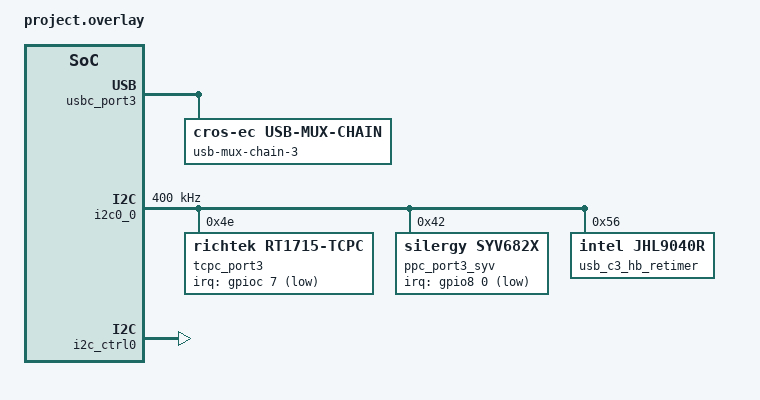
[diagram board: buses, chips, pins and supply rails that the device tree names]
/* Copyright 2024 The ChromiumOS Authors
 * Use of this source code is governed by a BSD-style license that can be
 * found in the LICENSE file.
 */

#include <cros/cbi_flash.dtsi>

/* Ovis program common DTSI includes */
#include "../fan.dtsi"
#include "../generated.dtsi"
#include "../interrupts.dtsi"
#include "../power_signals.dtsi"
#include "../ovis.dtsi"
#include "../usbc.dtsi"

/* Deku project DTS includes */
#include "led_pins.dtsi"
#include "temp_sensors.dtsi"
/*
 * TODO(b/285166688): need led_policy.dtsi once that has been
 * implemented to match Ovis requirements
 */

/ {
	named-adc-channels {
		adc_temp_sensor_3: temp_sensor_3 {
			enum-name = "ADC_TEMP_SENSOR_3";
			io-channels = <&adc0 7>;
		};
			adc_temp_sensor_4: temp_sensor_4 {
			enum-name = "ADC_TEMP_SENSOR_4";
			io-channels = <&adc0 9>;
		};
	};

	named-gpios {
		/delete-node/ ec_spare_gpio14;
		/delete-node/ ec_spare_gpio16;
		/delete-node/ ec_spare_gpio50;
		/delete-node/ ec_spare_gpio80;
		/delete-node/ ec_spare_gpio83;
		/delete-node/ ec_spare_gpio94;
		/delete-node/ ec_spare_gpio95;
		/delete-node/ ec_spare_gpioa1;
		/delete-node/ ec_spare_gpiob4;
		/delete-node/ ec_spare_gpiob5;
		/delete-node/ ec_spare_gpioc7;
		/delete-node/ ec_spare_gpioe1;
		/delete-node/ ec_spare_gpioe3;
		/delete-node/ ec_spare_gpiof0;
		/delete-node/ ec_spare_psl_gpo;
		/delete-node/ ec_spare_psl_in_3;
		/delete-node/ en_z1_rails;
		/delete-node/ gsc_flash_wp_odl;
		/delete-node/ pg_mem_vdd;
		/delete-node/ pg_pp1250_soc;
		/delete-node/ sys_slp_s0ix_l;
		/delete-node/ usb_a0_low_pwr_l;
		/delete-node/ usb_a0_status_odl;
		/delete-node/ usb_a1_low_pwr_l;
		/delete-node/ usb_a1_status_odl;
		/delete-node/ usb_a2_low_pwr_l;
		/delete-node/ usb_a2_oc_odl;
		/delete-node/ usb_a2_status_odl;
		/delete-node/ usb_a3_low_pwr_l;
		/delete-node/ usb_a3_status_odl;
		/delete-node/ usb_c0_frs_en;
		/delete-node/ usb_c1_frs_en;
		/delete-node/ usb_c2_frs_en;

		/*
		 * TODO(b/329518509): Default LED to Green until led_policy.dtsi
		 * is added */
		led_2_l {
			gpios = <&gpioc 3 GPIO_OUTPUT>;
		};

		gpio_ec_prochot_odl: ec_prochot_odl {
			gpios = <&gpio9 5 GPIO_ODR_HIGH>;
		};
		gpio_ec_soc_rec_switch_odl: ec_soc_rec_switch_odl {
			gpios = <&gpioe 3 GPIO_ODR_HIGH>;
		};
		gpio_ec_spare_gpio02: ec_spare_gpio02 {
			gpios = <&gpio0 2 GPIO_OUTPUT>;
		};
		gpio_ec_spare_gpio06: ec_spare_gpio06 {
			gpios = <&gpio0 6 GPIO_OUTPUT>;
		};
		gpio_ec_spare_gpio07: ec_spare_gpio07 {
			gpios = <&gpio0 7 GPIO_OUTPUT>;
		};
		gpio_ec_spare_gpio17: ec_spare_gpio17 {
			gpios = <&gpio1 7 GPIO_OUTPUT>;
		};
		gpio_ec_spare_gpio23: ec_spare_gpio23 {
			gpios = <&gpio2 3 GPIO_OUTPUT>;
		};
		gpio_ec_spare_gpio24: ec_spare_gpio24 {
			gpios = <&gpio2 4 GPIO_OUTPUT>;
		};
		gpio_ec_spare_gpio25: ec_spare_gpio25 {
			gpios = <&gpio2 5 GPIO_OUTPUT>;
		};
		gpio_ec_spare_gpio36: ec_spare_gpio36 {
			gpios = <&gpio3 6 GPIO_OUTPUT>;
		};
		gpio_ec_spare_gpio60: ec_spare_gpio60 {
			gpios = <&gpio6 0 GPIO_OUTPUT>;
		};
		gpio_ec_spare_gpio67: ec_spare_gpio67 {
			gpios = <&gpio6 7 GPIO_OUTPUT>;
		};
		gpio_ec_spare_gpio74: ec_spare_gpio74 {
			gpios = <&gpio7 4 GPIO_OUTPUT>;
		};
		gpio_ec_spare_gpio85: ec_spare_gpio85 {
			gpios = <&gpio8 5 GPIO_OUTPUT>;
		};
		gpio_ec_spare_gpiod3: ec_spare_gpiod3 {
			gpios = <&gpiod 3 GPIO_OUTPUT>;
		};
		gpio_ec_spare_gpiod5: ec_spare_gpiod5 {
			gpios = <&gpiod 5 GPIO_OUTPUT>;
		};
		gpio_ec_spare_gpiod7: ec_spare_gpiod7 {
			gpios = <&gpiod 7 GPIO_OUTPUT>;
		};
		gpio_ec_swio: ec_swio {
			gpios = <&gpio2 0 GPIO_OUTPUT>;
		};
		gpio_ec_swclk: ec_swclk {
			gpios = <&gpio2 1 GPIO_OUTPUT>;
		};
		gpio_ec_usb_c0_sbu_mux_flt_odl: ec_usb_c0_sbu_mux_flt_odl {
			gpios = <&gpio8 3 GPIO_INPUT>;
		};
		gpio_gsc_flash_wp_odl: gsc_flash_wp_odl {
			gpios = <&gpioa 1 (GPIO_INPUT | GPIO_ACTIVE_LOW)>;
		};
		gpio_sys_slp_s0ix_l: sys_slp_s0ix_l {
			gpios = <&gpio5 0 GPIO_INPUT>;
		};
		gpio_usb_a4_oc_odl: usb_a4_oc_odl {
			gpios = <&gpio2 6 GPIO_INPUT>;
		};
		gpio_usb_c3_ppc_int_odl: usb_c3_ppc_int_odl {
			gpios = <&gpio8 0 (GPIO_INPUT | GPIO_ACTIVE_LOW)>;
		};
		gpio_usb_c3_rt_3p3_sx_en: usb_c3_rt_3p3_sx_en {
			gpios = <&gpio1 4 GPIO_ODR_LOW>;
		};
		gpio_usb_c3_rt_int_odl: usb_c3_rt_int_odl {
			gpios = <&gpio9 4 GPIO_INPUT>;
		};
		gpio_usb_c3_rt_rst_l: usb_c3_rt_rst_l {
			gpios = <&gpio1 6 GPIO_ODR_HIGH>;
		};
		gpio_usb_c3_tcpc_int_odl: usb_c3_tcpc_int_odl {
			gpios = <&gpioc 7 (GPIO_INPUT | GPIO_ACTIVE_LOW)>;
		};
	};

	named-i2c-ports {
		i2c_ec_i2c_usb_c3: ec_i2c_usb_c3 {
		i2c-port = <&i2c0_0>;
		enum-names = "I2C_USB_C3";
		};
	};

	usbc {
		usbc_port3: port3@3 {
			compatible = "named-usbc-port";
			reg = <3>;
			ppc = <&ppc_port3_syv>;
			tcpc = <&tcpc_port3>;
			usb-mux-chain-3 {
				compatible = "cros-ec,usb-mux-chain";
				usb-muxes = <&usb_c3_hb_retimer
					     &virtual_mux_c3>;
			};
		};
		port3-muxes {
			virtual_mux_c3: virtual-mux-c3 {
				compatible = "cros-ec,usbc-mux-virtual";
			};
		};
	};
};

&i2c0_0 {
	status = "okay";
	label = "I2C_USB_C3";
	clock-frequency = <I2C_BITRATE_FAST>;
	pinctrl-0 = <&i2c0_0_sda_scl_gpb4_b5>;
	pinctrl-names = "default";
	tcpc_port3: rt1716@4e {
		compatible = "richtek,rt1715-tcpc";
		reg = <0x4e>;
		tcpc-flags = <(TCPC_FLAGS_TCPCI_REV2_0 |
			TCPC_FLAGS_TCPCI_REV2_0_NO_VSAFE0V)>;
		/* a duplicate of the <&gpio_usb_c1_tcpc_int_odl> node in
		 * "named-gpios". This is the Zephyr preferred style,
		 * the "named-gpios" node will be dealt with at a later date.
		 */
		irq-gpios = <&gpioc 7 GPIO_ACTIVE_LOW>;
	};
	ppc_port3_syv: ppc_syv@42 {
		compatible = "silergy,syv682x";
		status = "okay";
		reg = <0x42>;
		/* a duplicate of the <&gpio_usb_c0_ppc_int_odl> node in
		 * "named-gpios". This is the Zephyr preferred style,
		 * the "named-gpios" node will be dealt with at a later date.
		 */
		irq-gpios = <&gpio8 0 GPIO_ACTIVE_LOW>;
	};
	usb_c3_hb_retimer: jhl9040r-c0@56 {
		compatible = "intel,jhl9040r";
		reg = <0x56>;
		ls-en-pin = <&gpio_usb_c3_rt_3p3_sx_en>;
		int-pin = <&gpio_usb_c3_rt_int_odl>;
		reset-pin = <&gpio_usb_c3_rt_rst_l>;
	};
};

&i2c_ctrl0 {
	status = "okay";
};

&cbi_flash {
	/*
	 * CBI section size is 0x1000 bytes, the CBI portion lies at the end of
	 * EC_RO section. EC_RO section ends at 0x50000 byte which is the offset
	 */
	offset = <0x31000>;
	size = <0x1000>;
};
